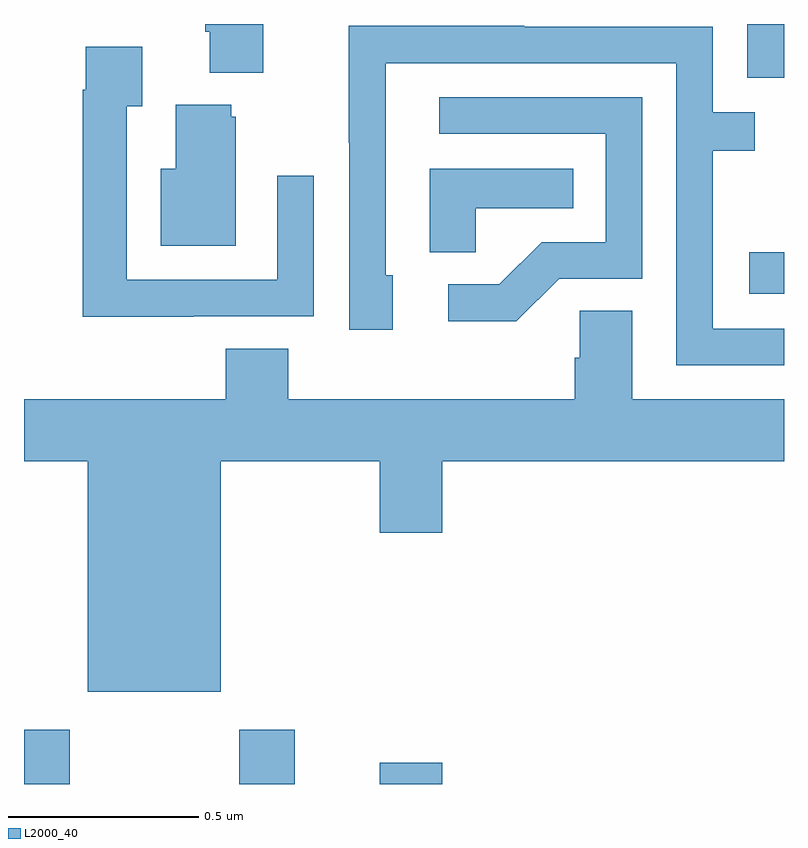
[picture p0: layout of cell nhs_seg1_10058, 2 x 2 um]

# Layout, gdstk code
import gdstk
lib = gdstk.Library(unit=1e-6, precision=1e-09)
def R(c, l, rs):  # rectangles x0, y0, x1, y1
    for r in rs: c.add(gdstk.rectangle(r[:2], r[2:], *l))
def P(c, l, *ps):  # polygons
    for p in ps: c.add(gdstk.Polygon(p, *l))
L2000_40 = (2000, 40)

nhs_seg1_10058 = lib.new_cell('nhs_seg1_10058')
R(nhs_seg1_10058, L2000_40, [(236,568.199,236.121,568.342), (236.566,568.199,236.713,568.342), (236.936,568.199,237.1,568.255), (237.909,569.489,238,569.599), (237.903,570.057,238,570.199)])
P(nhs_seg1_10058, L2000_40, [(236.629,570.199),(236.477,570.199),(236.477,570.178),(236.489,570.178),(236.489,570.071),(236.629,570.071)],
  [(238,569.397),(237.813,569.397),(237.813,569.866),(237.923,569.866),(237.923,569.967),(237.813,569.967),(237.813,570.192),(237.317,570.192),(237.317,570.194),(236.854,570.194),(236.854,569.887),(236.856,569.887),(236.856,569.394),(236.971,569.394),(236.971,569.538),(236.952,569.538),(236.952,570.096),(237.717,570.096),(237.717,569.301),(238,569.301)],
  [(236.447,569.43),(236.763,569.43),(236.763,569.8),(236.667,569.8),(236.667,569.526),(236.271,569.526),(236.271,569.983),(236.311,569.983),(236.311,570.139),(236.163,570.139),(236.163,570.026),(236.155,570.026),(236.155,569.429),(236.447,569.429)],
  [(237.408,569.529),(237.627,569.529),(237.627,570.006),(237.093,570.006),(237.093,569.91),(237.531,569.91),(237.531,569.625),(237.362,569.625),(237.251,569.514),(237.117,569.514),(237.117,569.417),(237.295,569.417)],
  [(236.557,569.955),(236.546,569.955),(236.546,569.986),(236.399,569.986),(236.399,569.818),(236.36,569.818),(236.36,569.615),(236.557,569.615)],
  [(237.189,569.714),(237.446,569.714),(237.446,569.818),(237.068,569.818),(237.068,569.599),(237.189,569.599)],
  [(236.518,569.048),(236.936,569.048),(236.936,568.86),(237.1,568.86),(237.1,569.048),(238,569.048),(238,569.212),(237.601,569.212),(237.601,569.444),(237.462,569.444),(237.462,569.321),(237.449,569.321),(237.449,569.212),(236.696,569.212),(236.696,569.345),(236.531,569.345),(236.531,569.212),(236,569.212),(236,569.048),(236.168,569.048),(236.168,568.442),(236.518,568.442)])

lib.write_gds('nhs_seg1_10058.gds')
